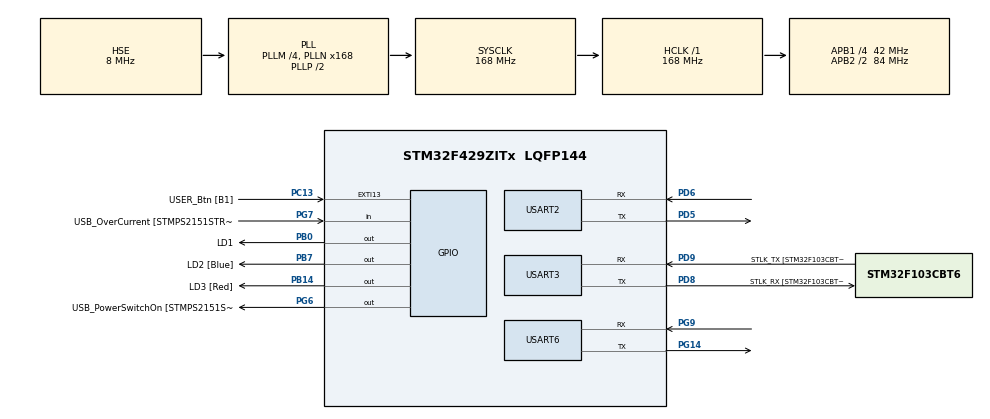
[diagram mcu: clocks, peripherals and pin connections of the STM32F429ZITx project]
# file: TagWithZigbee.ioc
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Dma.Request0=USART3_RX
Dma.Request1=USART3_TX
Dma.Request2=USART6_RX
Dma.Request3=USART6_TX
Dma.Request4=USART2_RX
Dma.Request5=USART2_TX
Dma.USART2_RX.4.Direction=DMA_PERIPH_TO_MEMORY
Dma.USART2_RX.4.FIFOMode=DMA_FIFOMODE_DISABLE
Dma.USART2_RX.4.Instance=DMA1_Stream5
Dma.USART2_RX.4.MemDataAlignment=DMA_MDATAALIGN_BYTE
Dma.USART2_RX.4.MemInc=DMA_MINC_ENABLE
Dma.USART2_RX.4.Mode=DMA_CIRCULAR
Dma.USART2_RX.4.PeriphDataAlignment=DMA_PDATAALIGN_BYTE
Dma.USART2_RX.4.PeriphInc=DMA_PINC_DISABLE
Dma.USART2_RX.4.Priority=DMA_PRIORITY_LOW
Dma.USART2_TX.5.Direction=DMA_MEMORY_TO_PERIPH
Dma.USART2_TX.5.FIFOMode=DMA_FIFOMODE_DISABLE
Dma.USART2_TX.5.Instance=DMA1_Stream6
Dma.USART2_TX.5.MemDataAlignment=DMA_MDATAALIGN_BYTE
Dma.USART2_TX.5.MemInc=DMA_MINC_ENABLE
Dma.USART2_TX.5.Mode=DMA_NORMAL
Dma.USART2_TX.5.PeriphDataAlignment=DMA_PDATAALIGN_BYTE
Dma.USART2_TX.5.PeriphInc=DMA_PINC_DISABLE
Dma.USART2_TX.5.Priority=DMA_PRIORITY_LOW
Dma.USART3_RX.0.Direction=DMA_PERIPH_TO_MEMORY
Dma.USART3_RX.0.FIFOMode=DMA_FIFOMODE_DISABLE
Dma.USART3_RX.0.Instance=DMA1_Stream1
Dma.USART3_RX.0.MemDataAlignment=DMA_MDATAALIGN_BYTE
Dma.USART3_RX.0.MemInc=DMA_MINC_ENABLE
Dma.USART3_RX.0.Mode=DMA_CIRCULAR
Dma.USART3_RX.0.PeriphDataAlignment=DMA_PDATAALIGN_BYTE
Dma.USART3_RX.0.PeriphInc=DMA_PINC_DISABLE
Dma.USART3_RX.0.Priority=DMA_PRIORITY_LOW
Dma.USART3_TX.1.Direction=DMA_MEMORY_TO_PERIPH
Dma.USART3_TX.1.FIFOMode=DMA_FIFOMODE_DISABLE
Dma.USART3_TX.1.Instance=DMA1_Stream3
Dma.USART3_TX.1.MemDataAlignment=DMA_MDATAALIGN_BYTE
Dma.USART3_TX.1.MemInc=DMA_MINC_ENABLE
Dma.USART3_TX.1.Mode=DMA_NORMAL
Dma.USART3_TX.1.PeriphDataAlignment=DMA_PDATAALIGN_BYTE
Dma.USART3_TX.1.PeriphInc=DMA_PINC_DISABLE
Dma.USART3_TX.1.Priority=DMA_PRIORITY_LOW
Dma.USART6_RX.2.Direction=DMA_PERIPH_TO_MEMORY
Dma.USART6_RX.2.FIFOMode=DMA_FIFOMODE_DISABLE
Dma.USART6_RX.2.Instance=DMA2_Stream1
Dma.USART6_RX.2.MemDataAlignment=DMA_MDATAALIGN_BYTE
Dma.USART6_RX.2.MemInc=DMA_MINC_ENABLE
Dma.USART6_RX.2.Mode=DMA_CIRCULAR
Dma.USART6_RX.2.PeriphDataAlignment=DMA_PDATAALIGN_BYTE
Dma.USART6_RX.2.PeriphInc=DMA_PINC_DISABLE
Dma.USART6_RX.2.Priority=DMA_PRIORITY_LOW
Dma.USART6_TX.3.Direction=DMA_MEMORY_TO_PERIPH
Dma.USART6_TX.3.FIFOMode=DMA_FIFOMODE_DISABLE
Dma.USART6_TX.3.Instance=DMA2_Stream6
Dma.USART6_TX.3.MemDataAlignment=DMA_MDATAALIGN_BYTE
Dma.USART6_TX.3.MemInc=DMA_MINC_ENABLE
Dma.USART6_TX.3.Mode=DMA_NORMAL
Dma.USART6_TX.3.PeriphDataAlignment=DMA_PDATAALIGN_BYTE
Dma.USART6_TX.3.PeriphInc=DMA_PINC_DISABLE
Dma.USART6_TX.3.Priority=DMA_PRIORITY_LOW
Mcu.Family=STM32F4
Mcu.Name=STM32F429ZITx
Mcu.Package=LQFP144
NVIC.DMA1_Stream1_IRQn=true\:0\:0\:false\:false\:true\:false\:true
NVIC.DMA1_Stream3_IRQn=true\:0\:0\:false\:false\:true\:false\:true
NVIC.DMA1_Stream5_IRQn=true\:0\:0\:false\:false\:true\:false\:true
NVIC.DMA1_Stream6_IRQn=true\:0\:0\:false\:false\:true\:false\:true
NVIC.DMA2_Stream1_IRQn=true\:0\:0\:false\:false\:true\:false\:true
NVIC.DMA2_Stream6_IRQn=true\:0\:0\:false\:false\:true\:false\:true
NVIC.PriorityGroup=NVIC_PRIORITYGROUP_4
NVIC.USART2_IRQn=true\:0\:0\:false\:false\:true\:true\:true
NVIC.USART3_IRQn=true\:0\:0\:false\:false\:true\:true\:true
NVIC.USART6_IRQn=true\:0\:0\:false\:false\:true\:true\:true
PA1.GPIO_Label=RMII_REF_CLK [LAN8742A-CZ-TR_REFCLK0]
PA1.Signal=ETH_REF_CLK
PA10.GPIO_Label=USB_ID
PA10.Signal=USB_OTG_FS_ID
PA11.GPIO_Label=USB_DM
PA11.Signal=USB_OTG_FS_DM
PA12.GPIO_Label=USB_DP
PA12.Signal=USB_OTG_FS_DP
PA13.GPIO_Label=TMS
PA13.Mode=Serial_Wire
PA13.Signal=SYS_JTMS-SWDIO
PA14.GPIO_Label=TCK
PA14.Mode=Serial_Wire
PA14.Signal=SYS_JTCK-SWCLK
PA2.GPIO_Label=RMII_MDIO [LAN8742A-CZ-TR_MDIO]
PA2.Signal=ETH_MDIO
PA7.GPIO_Label=RMII_CRS_DV [LAN8742A-CZ-TR_CRS_DV]
PA7.Signal=ETH_CRS_DV
PA8.GPIO_Label=USB_SOF [TP1]
PA8.Signal=USB_OTG_FS_SOF
PA9.GPIO_Label=USB_VBUS
PA9.Signal=USB_OTG_FS_VBUS
PB0.GPIO_Label=LD1
PB0.Signal=GPIO_Output
PB13.GPIO_Label=RMII_TXD1 [LAN8742A-CZ-TR_TXD1]
PB13.Signal=ETH_TXD1
PB14.GPIO_Label=LD3 [Red]
PB14.Signal=GPIO_Output
PB7.GPIO_Label=LD2 [Blue]
PB7.Signal=GPIO_Output
PC1.GPIO_Label=RMII_MDC [LAN8742A-CZ-TR_MDC]
PC1.Signal=ETH_MDC
PC13.GPIO_Label=USER_Btn [B1]
PC13.Signal=GPXTI13
PC14/OSC32_IN.Mode=LSE-External-Oscillator
PC14/OSC32_IN.Signal=RCC_OSC32_IN
PC15/OSC32_OUT.Mode=LSE-External-Oscillator
PC15/OSC32_OUT.Signal=RCC_OSC32_OUT
PC4.GPIO_Label=RMII_RXD0 [LAN8742A-CZ-TR_RXD0]
PC4.Signal=ETH_RXD0
PC5.GPIO_Label=RMII_RXD1 [LAN8742A-CZ-TR_RXD1]
PC5.Signal=ETH_RXD1
PD5.Mode=Asynchronous
PD5.Signal=USART2_TX
PD6.Mode=Asynchronous
PD6.Signal=USART2_RX
PD8.GPIO_Label=STLK_RX [STM32F103CBT6_PA3]
PD8.Mode=Asynchronous
PD8.Signal=USART3_TX
PD9.GPIO_Label=STLK_TX [STM32F103CBT6_PA2]
PD9.Mode=Asynchronous
PD9.Signal=USART3_RX
PG11.GPIO_Label=RMII_TX_EN [LAN8742A-CZ-TR_TXEN]
PG11.Signal=ETH_TX_EN
PG13.GPIO_Label=RMII_TXD0 [LAN8742A-CZ-TR_TXD0]
PG13.Signal=ETH_TXD0
PG14.Mode=Asynchronous
PG14.Signal=USART6_TX
PG6.GPIO_Label=USB_PowerSwitchOn [STMPS2151STR_EN]
PG6.Signal=GPIO_Output
PG7.GPIO_Label=USB_OverCurrent [STMPS2151STR_FAULT]
PG7.Signal=GPIO_Input
PG9.Mode=Asynchronous
PG9.Signal=USART6_RX
PH0/OSC_IN.GPIO_Label=MCO [STM32F103CBT6_PA8]
PH0/OSC_IN.Mode=HSE-External-Clock-Source
PH0/OSC_IN.Signal=RCC_OSC_IN
PH1/OSC_OUT.Mode=HSE-External-Clock-Source
PH1/OSC_OUT.Signal=RCC_OSC_OUT
ProjectManager.HeapSize=0x200
ProjectManager.StackSize=0x400
ProjectManager.TargetToolchain=MDK-ARM V5
RCC.48MHZClocksFreq_Value=48000000
RCC.AHBFreq_Value=168000000
RCC.APB1CLKDivider=RCC_HCLK_DIV4
RCC.APB1Freq_Value=42000000
RCC.APB1TimFreq_Value=84000000
RCC.APB2CLKDivider=RCC_HCLK_DIV2
RCC.APB2Freq_Value=84000000
RCC.APB2TimCLKDivider=2
RCC.APB2TimFreq_Value=168000000
RCC.CortexFreq_Value=168000000
RCC.HCLKFreq_Value=168000000
RCC.HSE_VALUE=8000000
RCC.HSI_VALUE=16000000
RCC.PLLM=4
RCC.PLLMUL=RCC_PLL_MUL9
RCC.PLLN=168
RCC.PLLQ=7
RCC.PLLSourceVirtual=RCC_PLLSOURCE_HSE
RCC.PRESCALERUSB=RCC_USBCLKSOURCE_PLL_DIV1_5
RCC.SYSCLKFreq_VALUE=168000000
RCC.SYSCLKSource=RCC_SYSCLKSOURCE_PLLCLK
RCC.SYSCLKSourceVirtual=RCC_SYSCLKSOURCE_PLLCLK
RCC.USBFreq_Value=48000000
RCC.VCOOutputFreq_Value=336000000
USART2.VirtualMode=VM_ASYNC
USART3.VirtualMode=VM_ASYNC
USART6.VirtualMode=VM_ASYNC
board=NUCLEO-F429ZI

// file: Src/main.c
/* USER CODE BEGIN Header */
/**
  ******************************************************************************
  * @file           : main.c
  * @brief          : Main program body
  ******************************************************************************
  * @attention
  *
  * <h2><center>&copy; Copyright (c) 2020 STMicroelectronics.
  * All rights reserved.</center></h2>
  *
  * This software component is licensed by ST under BSD 3-Clause license,
  * the "License"; You may not use this file except in compliance with the
  * License. You may obtain a copy of the License at:
  *                        opensource.org/licenses/BSD-3-Clause
  *
  ******************************************************************************
  */
/* USER CODE END Header */

#include "main.h"

/* USER CODE BEGIN Includes */
#include "ServiceUartIF.h"
#include "ZigBee.h"
#include "BLE.h"

/* USER CODE END Includes */

UART_HandleTypeDef huart2;
UART_HandleTypeDef huart3;
UART_HandleTypeDef huart6;
DMA_HandleTypeDef hdma_usart2_rx;
DMA_HandleTypeDef hdma_usart2_tx;
DMA_HandleTypeDef hdma_usart3_rx;
DMA_HandleTypeDef hdma_usart3_tx;
DMA_HandleTypeDef hdma_usart6_rx;
DMA_HandleTypeDef hdma_usart6_tx;

void SystemClock_Config(void);
static void MX_GPIO_Init(void);
static void MX_DMA_Init(void);
static void MX_USART3_UART_Init(void);
static void MX_USART6_UART_Init(void);
static void MX_USART2_UART_Init(void);

/* USER CODE BEGIN 0 */
static uint32_t delay;

void HAL_UART_ErrorCallback(UART_HandleTypeDef *huart)
{
    if(huart == &huart2)
    {
        if(huart->ErrorCode == HAL_UART_ERROR_FE)
        {
            __HAL_UART_CLEAR_FEFLAG(huart);
        }
    }

    if(huart == &huart2)
    {
        if(huart->ErrorCode == HAL_UART_ERROR_FE)
        {
            __HAL_UART_CLEAR_FEFLAG(huart);
        }
    }
}

/* USER CODE END 0 */

int main(void)
{

  /* MCU Configuration--------------------------------------------------------*/

  /* Reset of all peripherals, Initializes the Flash interface and the Systick. */
  HAL_Init();

  /* Configure the system clock */
  SystemClock_Config();

  /* Initialize all configured peripherals */
  MX_GPIO_Init();
  MX_DMA_Init();
  MX_USART3_UART_Init();
  MX_USART6_UART_Init();
  MX_USART2_UART_Init();
  /* USER CODE BEGIN 2 */
  ServiceUartIFInit(&huart3);
  BleInit(&huart2);
  ZigBeeInit(&huart6);

  /* USER CODE END 2 */

  /* Infinite loop */
  /* USER CODE BEGIN WHILE */
  while (1)
  {
      if(HAL_GetTick() >= delay + 1000)
      {
          delay = HAL_GetTick();
          HAL_GPIO_TogglePin(LD2_GPIO_Port, LD1_Pin);

          //ServiceUartIFPrint("MainThread tick: %u\n", delay);

          uint8_t tmpData[20];

          //ZigBeeQueueNewReport(tmpData);
          //hdma_usart3_rx.Instance->
      }

    /* USER CODE END WHILE */

    /* USER CODE BEGIN 3 */
    ServiceUartIFTask();
    ZigBeeTask();
    BleTask();
  }
  /* USER CODE END 3 */
}

void SystemClock_Config(void)
{
  RCC_OscInitTypeDef RCC_OscInitStruct = {0};
  RCC_ClkInitTypeDef RCC_ClkInitStruct = {0};

  /** Configure the main internal regulator output voltage
  */
  __HAL_RCC_PWR_CLK_ENABLE();
  __HAL_PWR_VOLTAGESCALING_CONFIG(PWR_REGULATOR_VOLTAGE_SCALE1);
  /** Initializes the CPU, AHB and APB busses clocks
  */
  RCC_OscInitStruct.OscillatorType = RCC_OSCILLATORTYPE_HSE;
  RCC_OscInitStruct.HSEState = RCC_HSE_BYPASS;
  RCC_OscInitStruct.PLL.PLLState = RCC_PLL_ON;
  RCC_OscInitStruct.PLL.PLLSource = RCC_PLLSOURCE_HSE;
  RCC_OscInitStruct.PLL.PLLM = 4;
  RCC_OscInitStruct.PLL.PLLN = 168;
  RCC_OscInitStruct.PLL.PLLP = RCC_PLLP_DIV2;
  RCC_OscInitStruct.PLL.PLLQ = 7;
  if (HAL_RCC_OscConfig(&RCC_OscInitStruct) != HAL_OK)
  {
    Error_Handler();
  }
  /** Initializes the CPU, AHB and APB busses clocks
  */
  RCC_ClkInitStruct.ClockType = RCC_CLOCKTYPE_HCLK|RCC_CLOCKTYPE_SYSCLK
                              |RCC_CLOCKTYPE_PCLK1|RCC_CLOCKTYPE_PCLK2;
  RCC_ClkInitStruct.SYSCLKSource = RCC_SYSCLKSOURCE_PLLCLK;
  RCC_ClkInitStruct.AHBCLKDivider = RCC_SYSCLK_DIV1;
  RCC_ClkInitStruct.APB1CLKDivider = RCC_HCLK_DIV4;
  RCC_ClkInitStruct.APB2CLKDivider = RCC_HCLK_DIV2;

  if (HAL_RCC_ClockConfig(&RCC_ClkInitStruct, FLASH_LATENCY_5) != HAL_OK)
  {
    Error_Handler();
  }
}

static void MX_USART2_UART_Init(void)
{

  huart2.Instance = USART2;
  huart2.Init.BaudRate = 115200;
  huart2.Init.WordLength = UART_WORDLENGTH_8B;
  huart2.Init.StopBits = UART_STOPBITS_1;
  huart2.Init.Parity = UART_PARITY_NONE;
  huart2.Init.Mode = UART_MODE_TX_RX;
  huart2.Init.HwFlowCtl = UART_HWCONTROL_NONE;
  huart2.Init.OverSampling = UART_OVERSAMPLING_16;
  if (HAL_UART_Init(&huart2) != HAL_OK)
  {
    Error_Handler();
  }

}

static void MX_USART3_UART_Init(void)
{

  huart3.Instance = USART3;
  huart3.Init.BaudRate = 115200;
  huart3.Init.WordLength = UART_WORDLENGTH_8B;
  huart3.Init.StopBits = UART_STOPBITS_1;
  huart3.Init.Parity = UART_PARITY_NONE;
  huart3.Init.Mode = UART_MODE_TX_RX;
  huart3.Init.HwFlowCtl = UART_HWCONTROL_NONE;
  huart3.Init.OverSampling = UART_OVERSAMPLING_16;
  if (HAL_UART_Init(&huart3) != HAL_OK)
  {
    Error_Handler();
  }

}

static void MX_USART6_UART_Init(void)
{

  huart6.Instance = USART6;
  huart6.Init.BaudRate = 115200;
  huart6.Init.WordLength = UART_WORDLENGTH_8B;
  huart6.Init.StopBits = UART_STOPBITS_1;
  huart6.Init.Parity = UART_PARITY_NONE;
  huart6.Init.Mode = UART_MODE_TX_RX;
  huart6.Init.HwFlowCtl = UART_HWCONTROL_NONE;
  huart6.Init.OverSampling = UART_OVERSAMPLING_16;
  if (HAL_UART_Init(&huart6) != HAL_OK)
  {
    Error_Handler();
  }

}

static void MX_DMA_Init(void)
{
  /* DMA controller clock enable */
  __HAL_RCC_DMA1_CLK_ENABLE();
  __HAL_RCC_DMA2_CLK_ENABLE();

  /* DMA interrupt init */
  /* DMA1_Stream1_IRQn interrupt configuration */
  HAL_NVIC_SetPriority(DMA1_Stream1_IRQn, 0, 0);
  HAL_NVIC_EnableIRQ(DMA1_Stream1_IRQn);
  /* DMA1_Stream3_IRQn interrupt configuration */
  HAL_NVIC_SetPriority(DMA1_Stream3_IRQn, 0, 0);
  HAL_NVIC_EnableIRQ(DMA1_Stream3_IRQn);
  /* DMA1_Stream5_IRQn interrupt configuration */
  HAL_NVIC_SetPriority(DMA1_Stream5_IRQn, 0, 0);
  HAL_NVIC_EnableIRQ(DMA1_Stream5_IRQn);
  /* DMA1_Stream6_IRQn interrupt configuration */
  HAL_NVIC_SetPriority(DMA1_Stream6_IRQn, 0, 0);
  HAL_NVIC_EnableIRQ(DMA1_Stream6_IRQn);
  /* DMA2_Stream1_IRQn interrupt configuration */
  HAL_NVIC_SetPriority(DMA2_Stream1_IRQn, 0, 0);
  HAL_NVIC_EnableIRQ(DMA2_Stream1_IRQn);
  /* DMA2_Stream6_IRQn interrupt configuration */
  HAL_NVIC_SetPriority(DMA2_Stream6_IRQn, 0, 0);
  HAL_NVIC_EnableIRQ(DMA2_Stream6_IRQn);

}

static void MX_GPIO_Init(void)
{
  GPIO_InitTypeDef GPIO_InitStruct = {0};

  /* GPIO Ports Clock Enable */
  __HAL_RCC_GPIOE_CLK_ENABLE();
  __HAL_RCC_GPIOC_CLK_ENABLE();
  __HAL_RCC_GPIOF_CLK_ENABLE();
  __HAL_RCC_GPIOH_CLK_ENABLE();
  __HAL_RCC_GPIOA_CLK_ENABLE();
  __HAL_RCC_GPIOB_CLK_ENABLE();
  __HAL_RCC_GPIOG_CLK_ENABLE();
  __HAL_RCC_GPIOD_CLK_ENABLE();

  /*Configure GPIO pin Output Level */
  HAL_GPIO_WritePin(GPIOB, LD1_Pin|LD3_Pin|LD2_Pin, GPIO_PIN_RESET);

  /*Configure GPIO pin Output Level */
  HAL_GPIO_WritePin(USB_PowerSwitchOn_GPIO_Port, USB_PowerSwitchOn_Pin, GPIO_PIN_RESET);

  /*Configure GPIO pins : PE2 PE3 PE4 PE5
                           PE6 PE7 PE8 PE9
                           PE10 PE11 PE12 PE13
                           PE14 PE15 PE0 PE1 */
  GPIO_InitStruct.Pin = GPIO_PIN_2|GPIO_PIN_3|GPIO_PIN_4|GPIO_PIN_5
                          |GPIO_PIN_6|GPIO_PIN_7|GPIO_PIN_8|GPIO_PIN_9
                          |GPIO_PIN_10|GPIO_PIN_11|GPIO_PIN_12|GPIO_PIN_13
                          |GPIO_PIN_14|GPIO_PIN_15|GPIO_PIN_0|GPIO_PIN_1;
  GPIO_InitStruct.Mode = GPIO_MODE_ANALOG;
  GPIO_InitStruct.Pull = GPIO_NOPULL;
  HAL_GPIO_Init(GPIOE, &GPIO_InitStruct);

  /*Configure GPIO pin : USER_Btn_Pin */
  GPIO_InitStruct.Pin = USER_Btn_Pin;
  GPIO_InitStruct.Mode = GPIO_MODE_IT_RISING;
  GPIO_InitStruct.Pull = GPIO_NOPULL;
  HAL_GPIO_Init(USER_Btn_GPIO_Port, &GPIO_InitStruct);

  /*Configure GPIO pins : PF0 PF1 PF2 PF3
                           PF4 PF5 PF6 PF7
                           PF8 PF9 PF10 PF11
                           PF12 PF13 PF14 PF15 */
  GPIO_InitStruct.Pin = GPIO_PIN_0|GPIO_PIN_1|GPIO_PIN_2|GPIO_PIN_3
                          |GPIO_PIN_4|GPIO_PIN_5|GPIO_PIN_6|GPIO_PIN_7
                          |GPIO_PIN_8|GPIO_PIN_9|GPIO_PIN_10|GPIO_PIN_11
                          |GPIO_PIN_12|GPIO_PIN_13|GPIO_PIN_14|GPIO_PIN_15;
  GPIO_InitStruct.Mode = GPIO_MODE_ANALOG;
  GPIO_InitStruct.Pull = GPIO_NOPULL;
  HAL_GPIO_Init(GPIOF, &GPIO_InitStruct);

  /*Configure GPIO pins : PC0 PC2 PC3 PC6
                           PC7 PC8 PC9 PC10
                           PC11 PC12 */
  GPIO_InitStruct.Pin = GPIO_PIN_0|GPIO_PIN_2|GPIO_PIN_3|GPIO_PIN_6
                          |GPIO_PIN_7|GPIO_PIN_8|GPIO_PIN_9|GPIO_PIN_10
                          |GPIO_PIN_11|GPIO_PIN_12;
  GPIO_InitStruct.Mode = GPIO_MODE_ANALOG;
  GPIO_InitStruct.Pull = GPIO_NOPULL;
  HAL_GPIO_Init(GPIOC, &GPIO_InitStruct);

  /*Configure GPIO pins : RMII_MDC_Pin RMII_RXD0_Pin RMII_RXD1_Pin */
  GPIO_InitStruct.Pin = RMII_MDC_Pin|RMII_RXD0_Pin|RMII_RXD1_Pin;
  GPIO_InitStruct.Mode = GPIO_MODE_AF_PP;
  GPIO_InitStruct.Pull = GPIO_NOPULL;
  GPIO_InitStruct.Speed = GPIO_SPEED_FREQ_VERY_HIGH;
  GPIO_InitStruct.Alternate = GPIO_AF11_ETH;
  HAL_GPIO_Init(GPIOC, &GPIO_InitStruct);

  /*Configure GPIO pins : PA0 PA3 PA4 PA5
                           PA6 PA15 */
  GPIO_InitStruct.Pin = GPIO_PIN_0|GPIO_PIN_3|GPIO_PIN_4|GPIO_PIN_5
                          |GPIO_PIN_6|GPIO_PIN_15;
  GPIO_InitStruct.Mode = GPIO_MODE_ANALOG;
  GPIO_InitStruct.Pull = GPIO_NOPULL;
  HAL_GPIO_Init(GPIOA, &GPIO_InitStruct);

  /*Configure GPIO pins : RMII_REF_CLK_Pin RMII_MDIO_Pin RMII_CRS_DV_Pin */
  GPIO_InitStruct.Pin = RMII_REF_CLK_Pin|RMII_MDIO_Pin|RMII_CRS_DV_Pin;
  GPIO_InitStruct.Mode = GPIO_MODE_AF_PP;
  GPIO_InitStruct.Pull = GPIO_NOPULL;
  GPIO_InitStruct.Speed = GPIO_SPEED_FREQ_VERY_HIGH;
  GPIO_InitStruct.Alternate = GPIO_AF11_ETH;
  HAL_GPIO_Init(GPIOA, &GPIO_InitStruct);

  /*Configure GPIO pins : LD1_Pin LD3_Pin LD2_Pin */
  GPIO_InitStruct.Pin = LD1_Pin|LD3_Pin|LD2_Pin;
  GPIO_InitStruct.Mode = GPIO_MODE_OUTPUT_PP;
  GPIO_InitStruct.Pull = GPIO_NOPULL;
  GPIO_InitStruct.Speed = GPIO_SPEED_FREQ_LOW;
  HAL_GPIO_Init(GPIOB, &GPIO_InitStruct);

  /*Configure GPIO pins : PB1 PB2 PB10 PB11
                           PB12 PB15 PB3 PB4
                           PB5 PB6 PB8 PB9 */
  GPIO_InitStruct.Pin = GPIO_PIN_1|GPIO_PIN_2|GPIO_PIN_10|GPIO_PIN_11
                          |GPIO_PIN_12|GPIO_PIN_15|GPIO_PIN_3|GPIO_PIN_4
                          |GPIO_PIN_5|GPIO_PIN_6|GPIO_PIN_8|GPIO_PIN_9;
  GPIO_InitStruct.Mode = GPIO_MODE_ANALOG;
  GPIO_InitStruct.Pull = GPIO_NOPULL;
  HAL_GPIO_Init(GPIOB, &GPIO_InitStruct);

  /*Configure GPIO pins : PG0 PG1 PG2 PG3
                           PG4 PG5 PG8 PG10
                           PG12 PG15 */
  GPIO_InitStruct.Pin = GPIO_PIN_0|GPIO_PIN_1|GPIO_PIN_2|GPIO_PIN_3
                          |GPIO_PIN_4|GPIO_PIN_5|GPIO_PIN_8|GPIO_PIN_10
                          |GPIO_PIN_12|GPIO_PIN_15;
  GPIO_InitStruct.Mode = GPIO_MODE_ANALOG;
  GPIO_InitStruct.Pull = GPIO_NOPULL;
  HAL_GPIO_Init(GPIOG, &GPIO_InitStruct);

  /*Configure GPIO pin : RMII_TXD1_Pin */
  GPIO_InitStruct.Pin = RMII_TXD1_Pin;
  GPIO_InitStruct.Mode = GPIO_MODE_AF_PP;
  GPIO_InitStruct.Pull = GPIO_NOPULL;
  GPIO_InitStruct.Speed = GPIO_SPEED_FREQ_VERY_HIGH;
  GPIO_InitStruct.Alternate = GPIO_AF11_ETH;
  HAL_GPIO_Init(RMII_TXD1_GPIO_Port, &GPIO_InitStruct);

  /*Configure GPIO pins : PD10 PD11 PD12 PD13
                           PD14 PD15 PD0 PD1
                           PD2 PD3 PD4 PD7 */
  GPIO_InitStruct.Pin = GPIO_PIN_10|GPIO_PIN_11|GPIO_PIN_12|GPIO_PIN_13
                          |GPIO_PIN_14|GPIO_PIN_15|GPIO_PIN_0|GPIO_PIN_1
                          |GPIO_PIN_2|GPIO_PIN_3|GPIO_PIN_4|GPIO_PIN_7;
  GPIO_InitStruct.Mode = GPIO_MODE_ANALOG;
  GPIO_InitStruct.Pull = GPIO_NOPULL;
  HAL_GPIO_Init(GPIOD, &GPIO_InitStruct);

  /*Configure GPIO pin : USB_PowerSwitchOn_Pin */
  GPIO_InitStruct.Pin = USB_PowerSwitchOn_Pin;
  GPIO_InitStruct.Mode = GPIO_MODE_OUTPUT_PP;
  GPIO_InitStruct.Pull = GPIO_NOPULL;
  GPIO_InitStruct.Speed = GPIO_SPEED_FREQ_LOW;
  HAL_GPIO_Init(USB_PowerSwitchOn_GPIO_Port, &GPIO_InitStruct);

  /*Configure GPIO pin : USB_OverCurrent_Pin */
  GPIO_InitStruct.Pin = USB_OverCurrent_Pin;
  GPIO_InitStruct.Mode = GPIO_MODE_INPUT;
  GPIO_InitStruct.Pull = GPIO_NOPULL;
  HAL_GPIO_Init(USB_OverCurrent_GPIO_Port, &GPIO_InitStruct);

  /*Configure GPIO pins : USB_SOF_Pin USB_ID_Pin USB_DM_Pin USB_DP_Pin */
  GPIO_InitStruct.Pin = USB_SOF_Pin|USB_ID_Pin|USB_DM_Pin|USB_DP_Pin;
  GPIO_InitStruct.Mode = GPIO_MODE_AF_PP;
  GPIO_InitStruct.Pull = GPIO_NOPULL;
  GPIO_InitStruct.Speed = GPIO_SPEED_FREQ_VERY_HIGH;
  GPIO_InitStruct.Alternate = GPIO_AF10_OTG_FS;
  HAL_GPIO_Init(GPIOA, &GPIO_InitStruct);

  /*Configure GPIO pin : USB_VBUS_Pin */
  GPIO_InitStruct.Pin = USB_VBUS_Pin;
  GPIO_InitStruct.Mode = GPIO_MODE_INPUT;
  GPIO_InitStruct.Pull = GPIO_NOPULL;
  HAL_GPIO_Init(USB_VBUS_GPIO_Port, &GPIO_InitStruct);

  /*Configure GPIO pins : RMII_TX_EN_Pin RMII_TXD0_Pin */
  GPIO_InitStruct.Pin = RMII_TX_EN_Pin|RMII_TXD0_Pin;
  GPIO_InitStruct.Mode = GPIO_MODE_AF_PP;
  GPIO_InitStruct.Pull = GPIO_NOPULL;
  GPIO_InitStruct.Speed = GPIO_SPEED_FREQ_VERY_HIGH;
  GPIO_InitStruct.Alternate = GPIO_AF11_ETH;
  HAL_GPIO_Init(GPIOG, &GPIO_InitStruct);

}

void Error_Handler(void)
{
}

/************************ (C) COPYRIGHT STMicroelectronics *****END OF FILE****/
